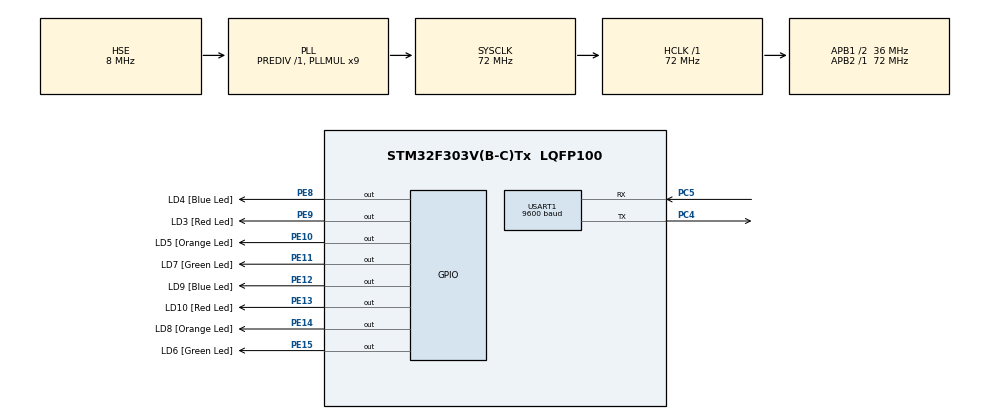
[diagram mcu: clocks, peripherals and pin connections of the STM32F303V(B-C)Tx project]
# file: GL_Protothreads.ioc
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Mcu.Family=STM32F3
Mcu.Name=STM32F303V(B-C)Tx
Mcu.Package=LQFP100
NVIC.PriorityGroup=NVIC_PRIORITYGROUP_0
NVIC.USART1_IRQn=true\:0\:0\:false\:false\:true\:true\:true
PC4.Mode=Asynchronous
PC4.Signal=USART1_TX
PC5.Mode=Asynchronous
PC5.Signal=USART1_RX
PE10.GPIO_Label=LD5 [Orange Led]
PE10.Signal=GPIO_Output
PE11.GPIO_Label=LD7 [Green Led]
PE11.Signal=GPIO_Output
PE12.GPIO_Label=LD9 [Blue Led]
PE12.Signal=GPIO_Output
PE13.GPIO_Label=LD10 [Red Led]
PE13.Signal=GPIO_Output
PE14.GPIO_Label=LD8 [Orange Led]
PE14.Signal=GPIO_Output
PE15.GPIO_Label=LD6 [Green Led]
PE15.Signal=GPIO_Output
PE8.GPIO_Label=LD4 [Blue Led]
PE8.Signal=GPIO_Output
PE9.GPIO_Label=LD3 [Red Led]
PE9.Signal=GPIO_Output
PF0-OSC_IN.GPIO_Label=OSC_IN
PF0-OSC_IN.Mode=HSE-External-Oscillator
PF0-OSC_IN.Signal=RCC_OSC_IN
PF1-OSC_OUT.GPIO_Label=OSC_OUT
PF1-OSC_OUT.Mode=HSE-External-Oscillator
PF1-OSC_OUT.Signal=RCC_OSC_OUT
ProjectManager.HeapSize=0x200
ProjectManager.StackSize=0x400
ProjectManager.TargetToolchain=MDK-ARM V5.27
RCC.AHBFreq_Value=72000000
RCC.APB1CLKDivider=RCC_HCLK_DIV2
RCC.APB1Freq_Value=36000000
RCC.APB1TimFreq_Value=72000000
RCC.APB2Freq_Value=72000000
RCC.APB2TimFreq_Value=72000000
RCC.CortexFreq_Value=72000000
RCC.HCLKFreq_Value=72000000
RCC.HSE_VALUE=8000000
RCC.HSI_VALUE=8000000
RCC.LSE_VALUE=32768
RCC.PLLMUL=RCC_PLL_MUL9
RCC.PLLSourceVirtual=RCC_PLLSOURCE_HSE
RCC.SYSCLKFreq_VALUE=72000000
RCC.SYSCLKSourceVirtual=RCC_SYSCLKSOURCE_PLLCLK
RCC.USBFreq_Value=72000000
USART1.BaudRate=9600
USART1.VirtualMode-Asynchronous=VM_ASYNC
board=STM32F3DISCOVERY

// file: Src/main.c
/* USER CODE BEGIN Header */
/**
  ******************************************************************************
  * @file           : main.c
  * @brief          : Main program body
  ******************************************************************************
  * @attention
  *
  * <h2><center>&copy; Copyright (c) 2020 STMicroelectronics.
  * All rights reserved.</center></h2>
  *
  * This software component is licensed by ST under BSD 3-Clause license,
  * the "License"; You may not use this file except in compliance with the
  * License. You may obtain a copy of the License at:
  *                        opensource.org/licenses/BSD-3-Clause
  *
  ******************************************************************************
  */
/* USER CODE END Header */

#include "main.h"

/* USER CODE BEGIN Includes */
#include "pt.h"
/* USER CODE END Includes */

/* USER CODE BEGIN PD */
static struct pt pt1, pt2;
/* Two flags that the two protothread functions use. */
static int protothread1_flag, protothread2_flag;
/* USER CODE END PD */

UART_HandleTypeDef huart1;

void SystemClock_Config(void);
static void MX_GPIO_Init(void);
static void MX_USART1_UART_Init(void);

/* USER CODE BEGIN 0 */
static int protothread1(struct pt *pt)
{
	//uint32_t tickstart = HAL_GetTick();
	//delay1+= (uint32_t)(uwTickFreq);
	PT_BEGIN(pt);
	while(1)
	{
		//PT_WAIT_UNTIL(pt, (HAL_GetTick() - tickstart) < delay1);
		//HAL_IncTick();
		//while((HAL_GetTick() - tickstart) < delay1);
		//HAL_Delay(delay1);
		//PT_WAIT_UNTIL(pt, ((HAL_GetTick() - tickstart) < delay1));

		PT_WAIT_UNTIL(pt, protothread2_flag != 0);
		HAL_GPIO_TogglePin(GPIOE, GPIO_PIN_8);
		HAL_Delay(100);
		//tickstart = HAL_GetTick();

		/* We then reset the other protothread's flag, and set our own
       flag so that the other protothread can run. */
		protothread2_flag = 0;
		protothread1_flag = 1;
	}
	PT_END(pt);
}

static int protothread2(struct pt *pt)
{
	PT_BEGIN(pt);
	while(1)
	{
		protothread2_flag = 1;
		PT_WAIT_UNTIL(pt, protothread1_flag != 0);
		HAL_GPIO_TogglePin(GPIOE, GPIO_PIN_10);
		HAL_Delay(1000);
		/* We then reset the other protothread's flag, and set our own
       flag so that the other protothread can run. */
		protothread1_flag = 0;
	}
	PT_END(pt);
}
/* USER CODE END 0 */

int main(void)
{

  /* MCU Configuration--------------------------------------------------------*/

  /* Reset of all peripherals, Initializes the Flash interface and the Systick. */
  HAL_Init();

  /* Configure the system clock */
  SystemClock_Config();

  /* Initialize all configured peripherals */
  MX_GPIO_Init();
  MX_USART1_UART_Init();
  /* USER CODE BEGIN 2 */
HAL_GPIO_TogglePin(GPIOE, GPIO_PIN_9);
PT_INIT(&pt1);
PT_INIT(&pt2);
  /* USER CODE END 2 */

  /* Infinite loop */
  /* USER CODE BEGIN WHILE */
  while (1)
  {
	  protothread1(&pt1);
	  HAL_Delay(1000);
	  PT_SCHEDULE(protothread2(&pt2));
    /* USER CODE END WHILE */

  }
}

void SystemClock_Config(void)
{
  RCC_OscInitTypeDef RCC_OscInitStruct = {0};
  RCC_ClkInitTypeDef RCC_ClkInitStruct = {0};
  RCC_PeriphCLKInitTypeDef PeriphClkInit = {0};

  /** Initializes the CPU, AHB and APB busses clocks
  */
  RCC_OscInitStruct.OscillatorType = RCC_OSCILLATORTYPE_HSE;
  RCC_OscInitStruct.HSEState = RCC_HSE_ON;
  RCC_OscInitStruct.HSEPredivValue = RCC_HSE_PREDIV_DIV1;
  RCC_OscInitStruct.HSIState = RCC_HSI_ON;
  RCC_OscInitStruct.PLL.PLLState = RCC_PLL_ON;
  RCC_OscInitStruct.PLL.PLLSource = RCC_PLLSOURCE_HSE;
  RCC_OscInitStruct.PLL.PLLMUL = RCC_PLL_MUL9;
  if (HAL_RCC_OscConfig(&RCC_OscInitStruct) != HAL_OK)
  {
    Error_Handler();
  }
  /** Initializes the CPU, AHB and APB busses clocks
  */
  RCC_ClkInitStruct.ClockType = RCC_CLOCKTYPE_HCLK|RCC_CLOCKTYPE_SYSCLK
                              |RCC_CLOCKTYPE_PCLK1|RCC_CLOCKTYPE_PCLK2;
  RCC_ClkInitStruct.SYSCLKSource = RCC_SYSCLKSOURCE_PLLCLK;
  RCC_ClkInitStruct.AHBCLKDivider = RCC_SYSCLK_DIV1;
  RCC_ClkInitStruct.APB1CLKDivider = RCC_HCLK_DIV2;
  RCC_ClkInitStruct.APB2CLKDivider = RCC_HCLK_DIV1;

  if (HAL_RCC_ClockConfig(&RCC_ClkInitStruct, FLASH_LATENCY_2) != HAL_OK)
  {
    Error_Handler();
  }
  PeriphClkInit.PeriphClockSelection = RCC_PERIPHCLK_USART1;
  PeriphClkInit.Usart1ClockSelection = RCC_USART1CLKSOURCE_PCLK2;
  if (HAL_RCCEx_PeriphCLKConfig(&PeriphClkInit) != HAL_OK)
  {
    Error_Handler();
  }
}

static void MX_USART1_UART_Init(void)
{

  huart1.Instance = USART1;
  huart1.Init.BaudRate = 9600;
  huart1.Init.WordLength = UART_WORDLENGTH_8B;
  huart1.Init.StopBits = UART_STOPBITS_1;
  huart1.Init.Parity = UART_PARITY_NONE;
  huart1.Init.Mode = UART_MODE_TX_RX;
  huart1.Init.HwFlowCtl = UART_HWCONTROL_NONE;
  huart1.Init.OverSampling = UART_OVERSAMPLING_16;
  huart1.Init.OneBitSampling = UART_ONE_BIT_SAMPLE_DISABLE;
  huart1.AdvancedInit.AdvFeatureInit = UART_ADVFEATURE_NO_INIT;
  if (HAL_UART_Init(&huart1) != HAL_OK)
  {
    Error_Handler();
  }

}

static void MX_GPIO_Init(void)
{
  GPIO_InitTypeDef GPIO_InitStruct = {0};

  /* GPIO Ports Clock Enable */
  __HAL_RCC_GPIOF_CLK_ENABLE();
  __HAL_RCC_GPIOC_CLK_ENABLE();
  __HAL_RCC_GPIOE_CLK_ENABLE();

  /*Configure GPIO pin Output Level */
  HAL_GPIO_WritePin(GPIOE, LD4_Pin|LD3_Pin|LD5_Pin|LD7_Pin
                          |LD9_Pin|LD10_Pin|LD8_Pin|LD6_Pin, GPIO_PIN_RESET);

  /*Configure GPIO pins : LD4_Pin LD3_Pin LD5_Pin LD7_Pin
                           LD9_Pin LD10_Pin LD8_Pin LD6_Pin */
  GPIO_InitStruct.Pin = LD4_Pin|LD3_Pin|LD5_Pin|LD7_Pin
                          |LD9_Pin|LD10_Pin|LD8_Pin|LD6_Pin;
  GPIO_InitStruct.Mode = GPIO_MODE_OUTPUT_PP;
  GPIO_InitStruct.Pull = GPIO_NOPULL;
  GPIO_InitStruct.Speed = GPIO_SPEED_FREQ_LOW;
  HAL_GPIO_Init(GPIOE, &GPIO_InitStruct);

}

void Error_Handler(void)
{
}

/************************ (C) COPYRIGHT STMicroelectronics *****END OF FILE****/
